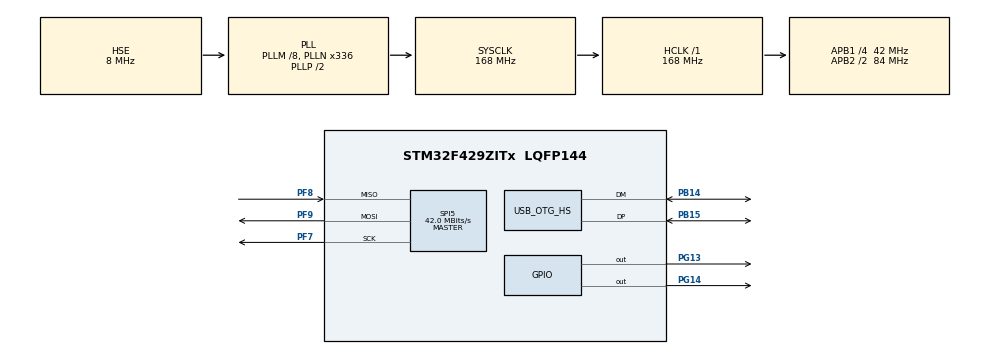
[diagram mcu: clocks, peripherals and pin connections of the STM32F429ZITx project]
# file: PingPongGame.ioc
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FREERTOS.Queues01=myQueue,32,uint16_t,0,Dynamic,NULL,NULL
FREERTOS.Tasks01=Task01,0,256,StartTask01,Default,NULL,Dynamic,NULL,NULL;Task02,0,256,StartTask02,Default,NULL,Dynamic,NULL,NULL;Task03,0,256,StartTask03,Default,NULL,Dynamic,NULL,NULL;Task04,0,256,StartTask04,Default,NULL,Dynamic,NULL,NULL
Mcu.Family=STM32F4
Mcu.Name=STM32F429ZITx
Mcu.Package=LQFP144
NVIC.OTG_HS_IRQn=true\:5\:0\:false\:false\:true\:true\:true\:true\:true
NVIC.PriorityGroup=NVIC_PRIORITYGROUP_4
NVIC.RCC_IRQn=true\:5\:0\:false\:false\:true\:true\:true\:false\:true
NVIC.SPI5_IRQn=true\:5\:0\:false\:false\:true\:true\:true\:true\:true
NVIC.TIM6_DAC_IRQn=true\:15\:0\:false\:false\:true\:false\:false\:true\:true
NVIC.TimeBase=TIM6_DAC_IRQn
NVIC.TimeBaseIP=TIM6
PA13.Mode=Serial_Wire
PA13.Signal=SYS_JTMS-SWDIO
PA14.Mode=Serial_Wire
PA14.Signal=SYS_JTCK-SWCLK
PB14.Mode=Device_Only_FS
PB14.Signal=USB_OTG_HS_DM
PB15.Mode=Device_Only_FS
PB15.Signal=USB_OTG_HS_DP
PF7.Mode=Full_Duplex_Master
PF7.Signal=SPI5_SCK
PF8.Mode=Full_Duplex_Master
PF8.Signal=SPI5_MISO
PF9.Mode=Full_Duplex_Master
PF9.Signal=SPI5_MOSI
PG13.GPIO_Speed=GPIO_SPEED_FREQ_VERY_HIGH
PG13.Signal=GPIO_Output
PG14.GPIO_Speed=GPIO_SPEED_FREQ_VERY_HIGH
PG14.Signal=GPIO_Output
PH0/OSC_IN.Mode=HSE-External-Oscillator
PH0/OSC_IN.Signal=RCC_OSC_IN
PH1/OSC_OUT.Mode=HSE-External-Oscillator
PH1/OSC_OUT.Signal=RCC_OSC_OUT
ProjectManager.HeapSize=0x2000
ProjectManager.StackSize=0x400
ProjectManager.TargetToolchain=STM32CubeIDE
RCC.48MHZClocksFreq_Value=48000000
RCC.AHBFreq_Value=168000000
RCC.APB1CLKDivider=RCC_HCLK_DIV4
RCC.APB1Freq_Value=42000000
RCC.APB1TimFreq_Value=84000000
RCC.APB2CLKDivider=RCC_HCLK_DIV2
RCC.APB2Freq_Value=84000000
RCC.APB2TimFreq_Value=168000000
RCC.CortexFreq_Value=168000000
RCC.HCLKFreq_Value=168000000
RCC.HSE_VALUE=8000000
RCC.HSI_VALUE=16000000
RCC.LSE_VALUE=32768
RCC.PLLM=8
RCC.PLLN=336
RCC.PLLQ=7
RCC.SYSCLKFreq_VALUE=168000000
RCC.SYSCLKSource=RCC_SYSCLKSOURCE_PLLCLK
RCC.VCOOutputFreq_Value=336000000
SPI5.BaudRatePrescaler=SPI_BAUDRATEPRESCALER_2
SPI5.CalculateBaudRate=42.0 MBits/s
SPI5.Direction=SPI_DIRECTION_2LINES
SPI5.Mode=SPI_MODE_MASTER
SPI5.VirtualType=VM_MASTER
USB_DEVICE.CLASS_NAME_HS=CDC
USB_DEVICE.VirtualMode-CDC_HS=Cdc
USB_DEVICE.VirtualModeHS=Cdc_HS
USB_OTG_HS.VirtualMode-Device_Only_FS=Device_Only_FS
VP_FREERTOS_VS_CMSIS_V1.Mode=CMSIS_V1
VP_SYS_VS_tim6.Mode=TIM6
VP_USB_DEVICE_VS_USB_DEVICE_CDC_HS.Mode=CDC_HS
board=custom

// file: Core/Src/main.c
/* USER CODE BEGIN Header */
/**
  ******************************************************************************
  * @file           : main.c
  * @brief          : Main program body
  ******************************************************************************
  * @attention
  *
  * Copyright (c) 2022 STMicroelectronics.
  * All rights reserved.
  *
  * This software is licensed under terms that can be found in the LICENSE file
  * in the root directory of this software component.
  * If no LICENSE file comes with this software, it is provided AS-IS.
  *
  ******************************************************************************
  */
/* USER CODE END Header */
#include "main.h"
#include "cmsis_os.h"
#include "usb_device.h"

/* USER CODE BEGIN Includes */
#include "stm32f429i_discovery_gyroscope.h"
#include "stm32f429i_discovery_lcd.h"
#include "stm32f429i_discovery_sdram.h"
#include "usbd_cdc_if.h"
#include <stdio.h>
#include "string.h"
/* USER CODE END Includes */

SPI_HandleTypeDef hspi5;

osThreadId Task01Handle;
osThreadId Task02Handle;
osThreadId Task03Handle;
osThreadId Task04Handle;
osMessageQId myQueueHandle;

void SystemClock_Config(void);
static void MX_GPIO_Init(void);
static void MX_SPI5_Init(void);
void StartTask01(void const * argument);
void StartTask02(void const * argument);
void StartTask03(void const * argument);
void StartTask04(void const * argument);

/* USER CODE BEGIN 0 */
typedef struct {
	int16_t x;
	int16_t y;
	int16_t z;
} Gyro_Data;
float Ange[3];
char buff[40];
char score[40];
uint16_t R;
uint8_t p = 0;
/* USER CODE END 0 */

int main(void)
{

  /* MCU Configuration--------------------------------------------------------*/

  /* Reset of all peripherals, Initializes the Flash interface and the Systick. */
  HAL_Init();

  /* Configure the system clock */
  SystemClock_Config();

  /* Initialize all configured peripherals */
  MX_GPIO_Init();
  MX_SPI5_Init();
  /* USER CODE BEGIN 2 */
  BSP_LCD_Init();
  	BSP_SDRAM_Init();
  	BSP_LCD_LayerDefaultInit(1, SDRAM_DEVICE_ADDR);
  	BSP_LCD_SelectLayer(1);//select on which layer we write
  	BSP_LCD_DisplayOn();//turn on LCD
  	BSP_LCD_Clear(LCD_COLOR_BLUE);//clear the LCD on blue s
  	BSP_LCD_SetBackColor(LCD_COLOR_BLUE);//set text background color
  	BSP_LCD_SetTextColor(LCD_COLOR_WHITE);//set text color
  	BSP_LCD_SetFont(&Font20);
  	BSP_LCD_GetFont();
  	BSP_LCD_FillCircle(120, 160, 15);
  	BSP_LCD_DisplayStringAtLine(1, (uint8_t*) "Scored: 0");
  /* USER CODE END 2 */

  /* Create the queue(s) */
  /* definition and creation of myQueue */
  osMessageQDef(myQueue, 32, int16_t);
  myQueueHandle = osMessageCreate(osMessageQ(myQueue), NULL);

  /* Create the thread(s) */
  /* definition and creation of Task01 */
  osThreadDef(Task01, StartTask01, osPriorityNormal, 0, 512);
  Task01Handle = osThreadCreate(osThread(Task01), NULL);

  /* definition and creation of Task02 */
  osThreadDef(Task02, StartTask02, osPriorityAboveNormal, 0, 512);
  Task02Handle = osThreadCreate(osThread(Task02), NULL);

  /* definition and creation of Task03 */
  osThreadDef(Task03, StartTask03, osPriorityNormal, 0, 512);
  Task03Handle = osThreadCreate(osThread(Task03), NULL);

  /* definition and creation of Task04 */
  osThreadDef(Task04, StartTask04, osPriorityNormal, 0, 512);
  Task04Handle = osThreadCreate(osThread(Task04), NULL);

  /* Start scheduler */
  osKernelStart();

  /* We should never get here as control is now taken by the scheduler */
  /* Infinite loop */
  while (1)
  {

  }
}

void SystemClock_Config(void)
{
  RCC_OscInitTypeDef RCC_OscInitStruct = {0};
  RCC_ClkInitTypeDef RCC_ClkInitStruct = {0};

  /** Configure the main internal regulator output voltage
  */
  __HAL_RCC_PWR_CLK_ENABLE();
  __HAL_PWR_VOLTAGESCALING_CONFIG(PWR_REGULATOR_VOLTAGE_SCALE1);

  /** Initializes the RCC Oscillators according to the specified parameters
  * in the RCC_OscInitTypeDef structure.
  */
  RCC_OscInitStruct.OscillatorType = RCC_OSCILLATORTYPE_HSE;
  RCC_OscInitStruct.HSEState = RCC_HSE_ON;
  RCC_OscInitStruct.PLL.PLLState = RCC_PLL_ON;
  RCC_OscInitStruct.PLL.PLLSource = RCC_PLLSOURCE_HSE;
  RCC_OscInitStruct.PLL.PLLM = 8;
  RCC_OscInitStruct.PLL.PLLN = 336;
  RCC_OscInitStruct.PLL.PLLP = RCC_PLLP_DIV2;
  RCC_OscInitStruct.PLL.PLLQ = 7;
  if (HAL_RCC_OscConfig(&RCC_OscInitStruct) != HAL_OK)
  {
    Error_Handler();
  }

  /** Initializes the CPU, AHB and APB buses clocks
  */
  RCC_ClkInitStruct.ClockType = RCC_CLOCKTYPE_HCLK|RCC_CLOCKTYPE_SYSCLK
                              |RCC_CLOCKTYPE_PCLK1|RCC_CLOCKTYPE_PCLK2;
  RCC_ClkInitStruct.SYSCLKSource = RCC_SYSCLKSOURCE_PLLCLK;
  RCC_ClkInitStruct.AHBCLKDivider = RCC_SYSCLK_DIV1;
  RCC_ClkInitStruct.APB1CLKDivider = RCC_HCLK_DIV4;
  RCC_ClkInitStruct.APB2CLKDivider = RCC_HCLK_DIV2;

  if (HAL_RCC_ClockConfig(&RCC_ClkInitStruct, FLASH_LATENCY_5) != HAL_OK)
  {
    Error_Handler();
  }
}

static void MX_SPI5_Init(void)
{

  /* SPI5 parameter configuration*/
  hspi5.Instance = SPI5;
  hspi5.Init.Mode = SPI_MODE_MASTER;
  hspi5.Init.Direction = SPI_DIRECTION_2LINES;
  hspi5.Init.DataSize = SPI_DATASIZE_8BIT;
  hspi5.Init.CLKPolarity = SPI_POLARITY_LOW;
  hspi5.Init.CLKPhase = SPI_PHASE_1EDGE;
  hspi5.Init.NSS = SPI_NSS_SOFT;
  hspi5.Init.BaudRatePrescaler = SPI_BAUDRATEPRESCALER_2;
  hspi5.Init.FirstBit = SPI_FIRSTBIT_MSB;
  hspi5.Init.TIMode = SPI_TIMODE_DISABLE;
  hspi5.Init.CRCCalculation = SPI_CRCCALCULATION_DISABLE;
  hspi5.Init.CRCPolynomial = 10;
  if (HAL_SPI_Init(&hspi5) != HAL_OK)
  {
    Error_Handler();
  }

}

static void MX_GPIO_Init(void)
{
  GPIO_InitTypeDef GPIO_InitStruct = {0};

  /* GPIO Ports Clock Enable */
  __HAL_RCC_GPIOF_CLK_ENABLE();
  __HAL_RCC_GPIOH_CLK_ENABLE();
  __HAL_RCC_GPIOB_CLK_ENABLE();
  __HAL_RCC_GPIOA_CLK_ENABLE();
  __HAL_RCC_GPIOG_CLK_ENABLE();

  /*Configure GPIO pin Output Level */
  HAL_GPIO_WritePin(GPIOG, GPIO_PIN_13|GPIO_PIN_14, GPIO_PIN_RESET);

  /*Configure GPIO pins : PG13 PG14 */
  GPIO_InitStruct.Pin = GPIO_PIN_13|GPIO_PIN_14;
  GPIO_InitStruct.Mode = GPIO_MODE_OUTPUT_PP;
  GPIO_InitStruct.Pull = GPIO_NOPULL;
  GPIO_InitStruct.Speed = GPIO_SPEED_FREQ_VERY_HIGH;
  HAL_GPIO_Init(GPIOG, &GPIO_InitStruct);

}

void StartTask01(void const * argument)
{
  /* init code for USB_DEVICE */
  MX_USB_DEVICE_Init();
  /* USER CODE BEGIN 5 */
  /* Infinite loop */
  for(;;)
  {
	  osSignalWait(0x1, osWaitForever);
	  R = R - 15;
	  sprintf(buff, "Ball High: %dcm\n", R);
	  CDC_Transmit_HS((uint8_t*) buff, strlen(buff));
    osDelay(150);
  }
  /* USER CODE END 5 */
}

void StartTask02(void const * argument)
{
  /* USER CODE BEGIN StartTask02 */
	BSP_GYRO_Init();
	float Data[3];
  /* Infinite loop */
  for(;;)
  {
	BSP_GYRO_GetXYZ(Data);
	for (int i = 0; i < 3; i++) {
		Data[i] = Data[i] / 1000;
		if ((Data[i] < 1 && Data[i] > 0) || (Data[i] > -1 && Data[i] < 0)) {
			Ange[i] = 0;
		}
		 else {
			 Ange[i] += Data[i];
		 }
	}
	osSignalSet(Task03Handle, 0x1);

    osDelay(1);
  }
  /* USER CODE END StartTask02 */
}

void StartTask03(void const * argument)
{
  /* USER CODE BEGIN StartTask03 */

	osSignalWait(0x1, osWaitForever);
	float temp;
  /* Infinite loop */
  for(;;)
  {
	if (Ange[0] > 20) {
		while (1) {
			if (Ange[0] < -20) {
				if (Ange[0] > -70) {
					for (float i = 16; i < 41; i = i + 0.01) {
						R = i;
						BSP_LCD_FillCircle(120, 160, i);
						osSignalSet(Task01Handle, 0x1);
					}
					for (float j = R; j > 15; j = j - 0.025) {
						R = j;
						temp = (float) j - R;
						if (temp < 0.025) {
							BSP_LCD_Clear(LCD_COLOR_BLUE);
						}
						if (j >= 15 && j < 15.07) {
							osSignalSet(Task04Handle, 0x1);
						}
						sprintf(score, "Scored: %d", p);
						BSP_LCD_DisplayStringAtLine(1, (uint8_t*) score);
						BSP_LCD_FillCircle(120, 160, j);
						osSignalSet(Task01Handle, 0x1);

					}
				}
				else {
					if (Ange[0] < -69) {
						for (float i = 16; i < 61; i = i + 0.01) {
							R = i;
							BSP_LCD_FillCircle(120, 160, i);
							osSignalSet(Task01Handle, 0x1);
						}
						for (float j = R; j > 15; j = j - 0.03) {
							R = j;
							temp = (float) j - R;
							if (temp < 0.03) {
								BSP_LCD_Clear(LCD_COLOR_BLUE);
							}
							if (j >= 15 && j < 15.07) {
								osSignalSet(Task04Handle, 0x1);
							}
							sprintf(score, "Scored: %d", p);
							BSP_LCD_DisplayStringAtLine(1, (uint8_t*) score);
							BSP_LCD_FillCircle(120, 160, j);
							osSignalSet(Task01Handle, 0x1);
						}
					}
				}
				if (Ange[0] > 0) {
					osSignalSet(Task04Handle, 0x2);
				}
			}
		}
	}
	else {
		R = 15;
		osSignalSet(Task01Handle, 0x1);
	}
    osDelay(1);
  }
  /* USER CODE END StartTask03 */
}

void StartTask04(void const * argument)
{
  /* USER CODE BEGIN StartTask04 */
  /* Infinite loop */
  for(;;)
  {
	osSignalWait(0x1, osWaitForever);
	if (Ange[0] < -30) {
		p = p + 1;
		HAL_GPIO_WritePin(GPIOG, GPIO_PIN_13, 1);
		HAL_Delay(500);
		HAL_GPIO_WritePin(GPIOG, GPIO_PIN_13, 0);
		osSignalWait(0x2, osWaitForever);
	}
	else {
			p = 0;
			while (1) {
				osThreadSuspend(Task01Handle);
				osThreadSuspend(Task02Handle);
				osThreadSuspend(Task03Handle);
				HAL_GPIO_WritePin(GPIOG, GPIO_PIN_14, 1);
				BSP_LCD_Clear(LCD_COLOR_RED);
				BSP_LCD_SetBackColor(LCD_COLOR_RED);
				BSP_LCD_DisplayStringAtLine(5, (uint8_t*) "    GAME OVER! ");
				BSP_LCD_DisplayStringAtLine(6, (uint8_t*) "   PLEASE ENTER ");
				BSP_LCD_DisplayStringAtLine(7, (uint8_t*) " RESET TO RESUME! ");
				osDelay(osWaitForever);
			}
	}
    osDelay(1);
  }
  /* USER CODE END StartTask04 */
}

void HAL_TIM_PeriodElapsedCallback(TIM_HandleTypeDef *htim)
{
  if (htim->Instance == TIM6) {
    HAL_IncTick();
  }
}

void Error_Handler(void)
{
  __disable_irq();
  while (1)
  {
  }
}
